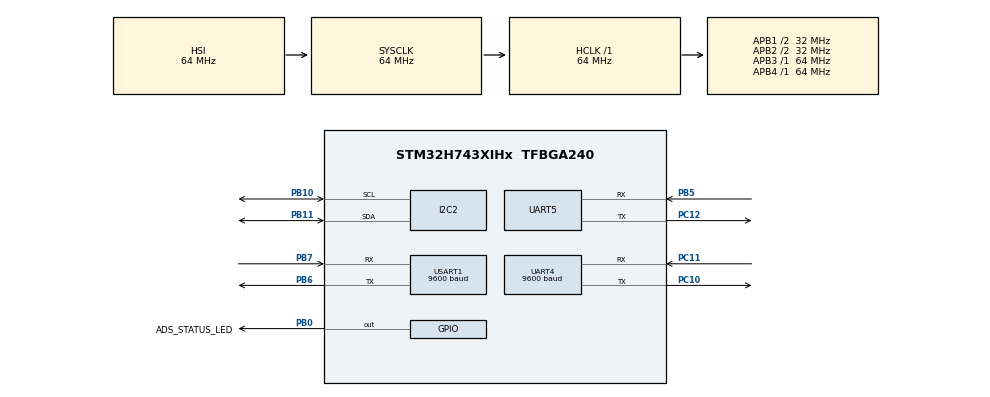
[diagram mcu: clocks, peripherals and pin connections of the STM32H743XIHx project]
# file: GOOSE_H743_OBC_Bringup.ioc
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CORTEX_M7.default_mode_Activation=1
I2C2.Timing=0x00707CBB
Mcu.Family=STM32H7
Mcu.Name=STM32H743XIHx
Mcu.Package=TFBGA240
NVIC.PriorityGroup=NVIC_PRIORITYGROUP_4
NVIC.UART4_IRQn=true\:0\:0\:false\:false\:true\:true\:true\:true
NVIC.USART1_IRQn=true\:0\:0\:false\:false\:true\:true\:true\:true
PB0.GPIO_Label=ADS_STATUS_LED
PB0.Signal=GPIO_Output
PB10.Mode=I2C
PB10.Signal=I2C2_SCL
PB11.Mode=I2C
PB11.Signal=I2C2_SDA
PB5.Mode=Asynchronous
PB5.Signal=UART5_RX
PB6.Mode=Asynchronous
PB6.Signal=USART1_TX
PB7.Mode=Asynchronous
PB7.Signal=USART1_RX
PC10.Mode=Asynchronous
PC10.Signal=UART4_TX
PC11.Mode=Asynchronous
PC11.Signal=UART4_RX
PC12.Mode=Asynchronous
PC12.Signal=UART5_TX
PD3.Signal=USART2_CTS
ProjectManager.HeapSize=0x200
ProjectManager.StackSize=0x400
ProjectManager.TargetToolchain=CMake
RCC.ADCFreq_Value=129000000
RCC.APB1Freq_Value=32000000
RCC.APB2Freq_Value=32000000
RCC.APB3Freq_Value=64000000
RCC.APB4Freq_Value=64000000
RCC.CortexFreq_Value=64000000
RCC.D2PPRE1=RCC_APB1_DIV2
RCC.D2PPRE2=RCC_APB2_DIV2
RCC.HCLKFreq_Value=64000000
RCC.SYSCLKFreq_VALUE=64000000
RCC.USBFreq_Value=129000000
UART4.BaudRate=9600
USART1.BaudRate=9600
USART1.VirtualMode-Asynchronous=VM_ASYNC
VP_MEMORYMAP_VS_MEMORYMAP.Mode=CurAppReg
board=custom

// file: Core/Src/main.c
/* USER CODE BEGIN Header */
/**
  ******************************************************************************
  * @file           : main.c
  * @brief          : Main program body
  ******************************************************************************
  * @attention
  *
  * Copyright (c) 2026 STMicroelectronics.
  * All rights reserved.
  *
  * This software is licensed under terms that can be found in the LICENSE file
  * in the root directory of this software component.
  * If no LICENSE file comes with this software, it is provided AS-IS.
  *
  ******************************************************************************
  */
/* USER CODE END Header */
#include "main.h"

/* USER CODE BEGIN Includes */
#include "ads_app.h"
#include <stdint.h>
#include "ads_status.h"
#include "ads_icm20948_probe.h"
#include "stm32h7xx_hal.h"
#include <stdio.h>
#include <math.h>
#include "ads_h743_sensors.h"
#include "string.h"
/* USER CODE END Includes */

/* USER CODE BEGIN PTD */

typedef struct
{
  uint32_t init_ok;
  uint32_t update_count;
  uint32_t last_update_ms;
  uint32_t icm_addr;
  uint32_t last_error_stage;
  uint32_t last_hal_status;
  uint32_t mag_bypass_ok;
  uint32_t mag_whoami_ok;
  uint32_t mag_config_ok;
  uint32_t mag_raw_ok;
  uint32_t mag_wia2;
  uint32_t mag_st1;
  uint32_t mag_st2;

  int32_t accel_x_raw;
  int32_t accel_y_raw;
  int32_t accel_z_raw;
  int32_t gyro_x_raw;
  int32_t gyro_y_raw;
  int32_t gyro_z_raw;
  int32_t mag_x_raw;
  int32_t mag_y_raw;
  int32_t mag_z_raw;
  int32_t temp_raw;
  int32_t mag_temp_raw;

  float accel_x_mps2;
  float accel_y_mps2;
  float accel_z_mps2;
  float gyro_x_radps;
  float gyro_y_radps;
  float gyro_z_radps;
  float mag_x_uT;
  float mag_y_uT;
  float mag_z_uT;
  float temp_c;
} GOOSE_ImuLiveDebug;

/* USER CODE END PTD */

/* USER CODE BEGIN PD */
#define ICM20948_ACCEL_4G_LSB_PER_G        (8192.0f)
#define ICM20948_STANDARD_GRAVITY_MPS2     (9.80665f)

#define ICM20948_GYRO_500DPS_LSB_PER_DPS   (65.5f)
#define DEG_TO_RAD                         (0.01745329251994329577f)

#define ICM20948_REG_BANK_SEL             0x7Fu
#define ICM20948_BANK0                    0x00u
#define ICM20948_USER_CTRL                0x03u
#define ICM20948_INT_PIN_CFG              0x0Fu

#define ICM20948_I2C_BYPASS_EN            0x02u

#define AK09916_I2C_ADDR_7BIT             0x0Cu
#define AK09916_I2C_ADDR_HAL              (AK09916_I2C_ADDR_7BIT << 1)

#define AK09916_REG_WIA2                  0x01u
#define AK09916_REG_ST1                   0x10u
#define AK09916_REG_HXL                   0x11u
#define AK09916_REG_ST2                   0x18u
#define AK09916_REG_CNTL2                 0x31u
#define AK09916_REG_CNTL3                 0x32u

#define AK09916_WIA2_EXPECTED             0x09u

#define AK09916_CNTL2_POWER_DOWN          0x00u
#define AK09916_CNTL2_CONTINUOUS_10HZ     0x02u
#define AK09916_CNTL2_CONTINUOUS_20HZ     0x04u
#define AK09916_CNTL2_CONTINUOUS_50HZ     0x06u
#define AK09916_CNTL2_CONTINUOUS_100HZ    0x08u

#define AK09916_ST1_DRDY                  0x01u
#define AK09916_ST2_HOFL                  0x08u

#define GOOSE_I2C_DEBUG_ONLY              1u
#define GOOSE_I2C_DEBUG_PERIOD_MS         50u

#define ICM20948_ADDR_PRIMARY             0x69u
#define ICM20948_ADDR_SECONDARY           0x68u
#define ICM20948_WHOAMI_EXPECTED          0xEAu

#define ICM20948_REG_WHO_AM_I             0x00u
#define ICM20948_PWR_MGMT_1               0x06u
#define ICM20948_PWR_MGMT_2               0x07u
#define ICM20948_ACCEL_XOUT_H             0x2Du
#define ICM20948_BANK2                    0x20u
#define ICM20948_GYRO_CONFIG_1            0x01u
#define ICM20948_ACCEL_CONFIG             0x14u

#define ICM20948_ACCEL_CONFIG_4G          0x02u
#define ICM20948_GYRO_CONFIG_500DPS       0x02u

#define ICM20948_TEMP_SENS_LSB_PER_C      333.87f
#define ICM20948_TEMP_OFFSET_C            21.0f

#define AK09916_UT_PER_LSB                0.15f

/* USER CODE END PD */

I2C_HandleTypeDef hi2c2;

UART_HandleTypeDef huart4;
UART_HandleTypeDef huart5;
UART_HandleTypeDef huart1;

/* USER CODE BEGIN PV */

volatile uint32_t g_uart4_test_status_debug = 999u;

static uint32_t g_ads_last_run_ms = 0u;
static uint32_t g_ads_status_last_toggle_ms = 0u;

static uint32_t g_imu_csv_start_ms = 0u;
static uint32_t g_imu_csv_last_ms = 0u;
static uint32_t g_imu_csv_sample = 0u;

#if 0
static uint32_t g_gyro50_start_ms = 0u;
static uint32_t g_gyro50_last_ms = 0u;
static uint32_t g_gyro50_sample = 0u;
static uint32_t g_uart_telemetry_last_ms = 0u;

static uint32_t g_uart_telemetry_sample_count = 0u;
static uint32_t g_uart_telemetry_last_sample_ms = 0u;
#endif

/*
 * Prepared for later 50 Hz gyro telemetry.
 * Leave disabled for now while we finish clean accel/gyro telemetry.
 */
#define ADS_UART_TELEMETRY_50HZ_ENABLE 0

/* Debug-visible counters */
volatile uint32_t g_ads_run_count = 0u;
volatile uint32_t g_ads_init_done = 0u;
volatile uint32_t g_ads_healthy_debug = 0u;

volatile uint32_t g_icm20948_probe_result_debug = 0u;
volatile uint32_t g_icm20948_detected_addr_debug = 0u;
volatile uint32_t g_icm20948_probe_count_debug = 0u;
volatile uint32_t g_icm20948_hal_status_0x69_debug = 0u;
volatile uint32_t g_icm20948_hal_status_0x68_debug = 0u;

volatile uint32_t g_icm20948_whoami_result_debug = 0u;
volatile uint32_t g_icm20948_whoami_value_debug = 0u;
volatile uint32_t g_icm20948_whoami_hal_status_debug = 0u;
volatile uint32_t g_icm20948_whoami_read_count_debug = 0u;

static uint8_t g_icm20948_probe_done = 0u;
static uint8_t g_icm20948_probe_found = 0u;
static uint8_t g_icm20948_whoami_ok = 0u;

volatile uint32_t g_icm20948_wake_result_debug = 0u;
volatile uint32_t g_icm20948_wake_hal_status_debug = 0u;
volatile uint32_t g_icm20948_wake_count_debug = 0u;

volatile int32_t g_icm20948_accel_x_raw_debug = 0;
volatile int32_t g_icm20948_accel_y_raw_debug = 0;
volatile int32_t g_icm20948_accel_z_raw_debug = 0;

volatile int32_t g_icm20948_gyro_x_raw_debug = 0;
volatile int32_t g_icm20948_gyro_y_raw_debug = 0;
volatile int32_t g_icm20948_gyro_z_raw_debug = 0;

volatile uint32_t g_icm20948_raw_result_debug = 0u;
volatile uint32_t g_icm20948_raw_hal_status_debug = 0u;
volatile uint32_t g_icm20948_raw_read_count_debug = 0u;

static uint8_t g_icm20948_raw_ok = 0u;
static uint32_t g_icm20948_last_raw_read_ms = 0u;

volatile uint32_t g_icm20948_config_result_debug = 0u;
volatile uint32_t g_icm20948_config_hal_status_debug = 0u;
volatile uint32_t g_icm20948_config_count_debug = 0u;

static uint8_t g_icm20948_config_ok = 0u;

volatile float g_icm20948_accel_x_mps2_debug = 0.0f;
volatile float g_icm20948_accel_y_mps2_debug = 0.0f;
volatile float g_icm20948_accel_z_mps2_debug = 0.0f;

volatile float g_icm20948_gyro_x_radps_debug = 0.0f;
volatile float g_icm20948_gyro_y_radps_debug = 0.0f;
volatile float g_icm20948_gyro_z_radps_debug = 0.0f;

static uint8_t g_ak09916_bypass_ok = 0u;
static uint8_t g_ak09916_whoami_ok = 0u;
static uint8_t g_ak09916_config_ok = 0u;
static uint8_t g_ak09916_raw_ok = 0u;

static uint32_t g_ak09916_last_read_ms = 0u;
static uint32_t g_mag_csv_start_ms = 0u;
static uint32_t g_mag_csv_last_ms = 0u;
static uint32_t g_mag_csv_sample = 0u;

static uint32_t g_est_csv_start_ms = 0u;
static uint32_t g_est_csv_last_ms = 0u;
static uint32_t g_est_csv_sample = 0u;

static uint32_t g_ak09916_hal_status_debug = 0u;
static uint32_t g_ak09916_wia2_debug = 0u;
static uint32_t g_ak09916_st1_debug = 0u;
static uint32_t g_ak09916_st2_debug = 0u;

static int32_t g_ak09916_mag_x_raw_debug = 0;
static int32_t g_ak09916_mag_y_raw_debug = 0;
static int32_t g_ak09916_mag_z_raw_debug = 0;

volatile GOOSE_ImuLiveDebug g_imu_live_debug = {0};

volatile int32_t g_icm20948_temp_raw_debug = 0;
volatile float g_icm20948_temp_c_debug = 0.0f;

volatile float g_ak09916_mag_x_uT_debug = 0.0f;
volatile float g_ak09916_mag_y_uT_debug = 0.0f;
volatile float g_ak09916_mag_z_uT_debug = 0.0f;
volatile int32_t g_ak09916_mag_temp_raw_debug = 0;

static uint32_t g_imu_live_last_read_ms = 0u;

/* USER CODE END PV */

void SystemClock_Config(void);
static void MPU_Config(void);
static void MX_GPIO_Init(void);
static void MX_I2C2_Init(void);
static void MX_UART4_Init(void);
static void MX_USART1_UART_Init(void);
static void MX_UART5_Init(void);

/* USER CODE BEGIN 0 */
static HAL_StatusTypeDef GOOSE_ICM20948_WriteReg(uint8_t icm_addr_7bit,
                                                 uint8_t reg,
                                                 uint8_t value)
{
  return HAL_I2C_Mem_Write(&hi2c2,
                           (uint16_t)(icm_addr_7bit << 1),
                           reg,
                           I2C_MEMADD_SIZE_8BIT,
                           &value,
                           1u,
                           100u);
}

static HAL_StatusTypeDef GOOSE_AK09916_WriteReg(uint8_t reg, uint8_t value)
{
  return HAL_I2C_Mem_Write(&hi2c2,
                           AK09916_I2C_ADDR_HAL,
                           reg,
                           I2C_MEMADD_SIZE_8BIT,
                           &value,
                           1u,
                           100u);
}

static HAL_StatusTypeDef GOOSE_AK09916_ReadReg(uint8_t reg, uint8_t *value)
{
  return HAL_I2C_Mem_Read(&hi2c2,
                          AK09916_I2C_ADDR_HAL,
                          reg,
                          I2C_MEMADD_SIZE_8BIT,
                          value,
                          1u,
                          100u);
}

static HAL_StatusTypeDef GOOSE_AK09916_ReadRegs(uint8_t reg,
                                                uint8_t *data,
                                                uint16_t len)
{
  return HAL_I2C_Mem_Read(&hi2c2,
                          AK09916_I2C_ADDR_HAL,
                          reg,
                          I2C_MEMADD_SIZE_8BIT,
                          data,
                          len,
                          100u);
}

static HAL_StatusTypeDef GOOSE_ICM20948_ReadReg(uint8_t icm_addr_7bit,
                                                uint8_t reg,
                                                uint8_t *value)
{
  return HAL_I2C_Mem_Read(&hi2c2,
                          (uint16_t)(icm_addr_7bit << 1),
                          reg,
                          I2C_MEMADD_SIZE_8BIT,
                          value,
                          1u,
                          100u);
}

static HAL_StatusTypeDef GOOSE_ICM20948_ReadRegs(uint8_t icm_addr_7bit,
                                                 uint8_t reg,
                                                 uint8_t *data,
                                                 uint16_t len)
{
  return HAL_I2C_Mem_Read(&hi2c2,
                          (uint16_t)(icm_addr_7bit << 1),
                          reg,
                          I2C_MEMADD_SIZE_8BIT,
                          data,
                          len,
                          100u);
}

static HAL_StatusTypeDef GOOSE_ICM20948_SelectBank(uint8_t icm_addr_7bit,
                                                   uint8_t bank)
{
  return GOOSE_ICM20948_WriteReg(icm_addr_7bit,
                                 ICM20948_REG_BANK_SEL,
                                 bank);
}

static int16_t GOOSE_ReadI16BE(const uint8_t *p)
{
  return (int16_t)(((uint16_t)p[0] << 8) | (uint16_t)p[1]);
}

static void GOOSE_AK09916_InitForTelemetry(void)
{
  HAL_StatusTypeDef status;
  uint8_t wia2 = 0u;

  g_ak09916_bypass_ok = 0u;
  g_ak09916_whoami_ok = 0u;
  g_ak09916_config_ok = 0u;
  g_ak09916_raw_ok = 0u;

  /*
   * Put ICM-20948 in bank 0.
   */
  status = GOOSE_ICM20948_WriteReg((uint8_t)g_icm20948_detected_addr_debug,
                                   ICM20948_REG_BANK_SEL,
                                   ICM20948_BANK0);
  g_ak09916_hal_status_debug = (uint32_t)status;

  if (status != HAL_OK)
  {
    return;
  }

  /*
   * Disable ICM internal I2C master, then enable bypass so STM32 can see AK09916.
   */
  status = GOOSE_ICM20948_WriteReg((uint8_t)g_icm20948_detected_addr_debug,
                                   ICM20948_USER_CTRL,
                                   0x00u);
  g_ak09916_hal_status_debug = (uint32_t)status;

  if (status != HAL_OK)
  {
    return;
  }

  status = GOOSE_ICM20948_WriteReg((uint8_t)g_icm20948_detected_addr_debug,
                                   ICM20948_INT_PIN_CFG,
                                   ICM20948_I2C_BYPASS_EN);
  g_ak09916_hal_status_debug = (uint32_t)status;

  if (status != HAL_OK)
  {
    return;
  }

  HAL_Delay(10u);
  g_ak09916_bypass_ok = 1u;

  /*
   * Check AK09916 identity.
   */
  status = GOOSE_AK09916_ReadReg(AK09916_REG_WIA2, &wia2);
  g_ak09916_hal_status_debug = (uint32_t)status;
  g_ak09916_wia2_debug = (uint32_t)wia2;

  if ((status != HAL_OK) || (wia2 != AK09916_WIA2_EXPECTED))
  {
    return;
  }

  g_ak09916_whoami_ok = 1u;

  /*
   * Reset/configure magnetometer.
   */
  status = GOOSE_AK09916_WriteReg(AK09916_REG_CNTL3, 0x01u);
  g_ak09916_hal_status_debug = (uint32_t)status;

  if (status != HAL_OK)
  {
    return;
  }

  HAL_Delay(50u);

  status = GOOSE_AK09916_WriteReg(AK09916_REG_CNTL2,
                                  AK09916_CNTL2_CONTINUOUS_100HZ);
  g_ak09916_hal_status_debug = (uint32_t)status;

  if (status != HAL_OK)
  {
    return;
  }

  HAL_Delay(10u);

  g_ak09916_config_ok = 1u;
}

static void GOOSE_AK09916_ReadMagOnce(void)
{
  HAL_StatusTypeDef status;
  uint8_t st1 = 0u;
  uint8_t data[8] = {0};

  g_ak09916_raw_ok = 0u;

  status = GOOSE_AK09916_ReadReg(AK09916_REG_ST1, &st1);
  g_ak09916_hal_status_debug = (uint32_t)status;
  g_ak09916_st1_debug = (uint32_t)st1;

  if (status != HAL_OK)
  {
    return;
  }

  if ((st1 & AK09916_ST1_DRDY) == 0u)
  {
    return;
  }

  /*
   * Read HXL,HXH,HYL,HYH,HZL,HZH,TMPS,ST2.
   * Reading ST2 is required to complete the measurement read.
   */
  status = GOOSE_AK09916_ReadRegs(AK09916_REG_HXL, data, 8u);
  g_ak09916_hal_status_debug = (uint32_t)status;

  if (status != HAL_OK)
  {
    return;
  }

  g_ak09916_st2_debug = (uint32_t)data[7];

  if ((data[7] & AK09916_ST2_HOFL) != 0u)
  {
    return;
  }

  g_ak09916_mag_x_raw_debug =
      (int32_t)((int16_t)((uint16_t)data[0] | ((uint16_t)data[1] << 8)));

  g_ak09916_mag_y_raw_debug =
      (int32_t)((int16_t)((uint16_t)data[2] | ((uint16_t)data[3] << 8)));

  g_ak09916_mag_z_raw_debug =
      (int32_t)((int16_t)((uint16_t)data[4] | ((uint16_t)data[5] << 8)));

  g_ak09916_mag_temp_raw_debug = (int32_t)((int8_t)data[6]);

  g_ak09916_mag_x_uT_debug = (float)g_ak09916_mag_x_raw_debug * AK09916_UT_PER_LSB;
  g_ak09916_mag_y_uT_debug = (float)g_ak09916_mag_y_raw_debug * AK09916_UT_PER_LSB;
  g_ak09916_mag_z_uT_debug = (float)g_ak09916_mag_z_raw_debug * AK09916_UT_PER_LSB;

  g_imu_live_debug.mag_x_raw = g_ak09916_mag_x_raw_debug;
  g_imu_live_debug.mag_y_raw = g_ak09916_mag_y_raw_debug;
  g_imu_live_debug.mag_z_raw = g_ak09916_mag_z_raw_debug;
  g_imu_live_debug.mag_temp_raw = g_ak09916_mag_temp_raw_debug;
  g_imu_live_debug.mag_x_uT = g_ak09916_mag_x_uT_debug;
  g_imu_live_debug.mag_y_uT = g_ak09916_mag_y_uT_debug;
  g_imu_live_debug.mag_z_uT = g_ak09916_mag_z_uT_debug;
  g_imu_live_debug.mag_raw_ok = 1u;
  g_imu_live_debug.mag_wia2 = g_ak09916_wia2_debug;
  g_imu_live_debug.mag_st1 = g_ak09916_st1_debug;
  g_imu_live_debug.mag_st2 = g_ak09916_st2_debug;

  g_ak09916_raw_ok = 1u;
}

static void GOOSE_DebugImuI2cOnlyInit(void)
{
  HAL_StatusTypeDef status;
  uint8_t addr = 0u;
  uint8_t whoami = 0u;

  g_imu_live_debug.init_ok = 0u;
  g_imu_live_debug.last_error_stage = 1u;

  g_icm20948_probe_count_debug++;
  g_icm20948_probe_done = 1u;
  g_icm20948_probe_found = 0u;
  g_icm20948_whoami_ok = 0u;
  g_icm20948_config_ok = 0u;
  g_icm20948_raw_ok = 0u;

  status = HAL_I2C_IsDeviceReady(&hi2c2,
                                 (uint16_t)(ICM20948_ADDR_PRIMARY << 1),
                                 2u,
                                 100u);
  g_icm20948_hal_status_0x69_debug = (uint32_t)status;

  if (status == HAL_OK)
  {
    addr = ICM20948_ADDR_PRIMARY;
  }
  else
  {
    status = HAL_I2C_IsDeviceReady(&hi2c2,
                                   (uint16_t)(ICM20948_ADDR_SECONDARY << 1),
                                   2u,
                                   100u);
    g_icm20948_hal_status_0x68_debug = (uint32_t)status;

    if (status == HAL_OK)
    {
      addr = ICM20948_ADDR_SECONDARY;
    }
  }

  g_icm20948_probe_result_debug = (uint32_t)status;
  g_imu_live_debug.last_hal_status = (uint32_t)status;

  if (addr == 0u)
  {
    g_imu_live_debug.last_error_stage = 2u;
    return;
  }

  g_icm20948_detected_addr_debug = (uint32_t)addr;
  g_imu_live_debug.icm_addr = (uint32_t)addr;
  g_icm20948_probe_found = 1u;

  status = GOOSE_ICM20948_SelectBank(addr, ICM20948_BANK0);
  g_imu_live_debug.last_hal_status = (uint32_t)status;
  if (status != HAL_OK)
  {
    g_imu_live_debug.last_error_stage = 3u;
    return;
  }

  status = GOOSE_ICM20948_ReadReg(addr, ICM20948_REG_WHO_AM_I, &whoami);
  g_icm20948_whoami_hal_status_debug = (uint32_t)status;
  g_icm20948_whoami_value_debug = (uint32_t)whoami;
  g_icm20948_whoami_read_count_debug++;
  g_imu_live_debug.last_hal_status = (uint32_t)status;

  if ((status != HAL_OK) || (whoami != ICM20948_WHOAMI_EXPECTED))
  {
    g_imu_live_debug.last_error_stage = 4u;
    return;
  }

  g_icm20948_whoami_ok = 1u;

  status = GOOSE_ICM20948_WriteReg(addr, ICM20948_PWR_MGMT_1, 0x01u);
  g_icm20948_wake_hal_status_debug = (uint32_t)status;
  g_icm20948_wake_result_debug = (uint32_t)status;
  g_icm20948_wake_count_debug++;
  g_imu_live_debug.last_hal_status = (uint32_t)status;
  if (status != HAL_OK)
  {
    g_imu_live_debug.last_error_stage = 5u;
    return;
  }

  HAL_Delay(20u);

  status = GOOSE_ICM20948_WriteReg(addr, ICM20948_PWR_MGMT_2, 0x00u);
  g_imu_live_debug.last_hal_status = (uint32_t)status;
  if (status != HAL_OK)
  {
    g_imu_live_debug.last_error_stage = 6u;
    return;
  }

  status = GOOSE_ICM20948_SelectBank(addr, ICM20948_BANK2);
  g_imu_live_debug.last_hal_status = (uint32_t)status;
  if (status != HAL_OK)
  {
    g_imu_live_debug.last_error_stage = 7u;
    return;
  }

  status = GOOSE_ICM20948_WriteReg(addr,
                                   ICM20948_GYRO_CONFIG_1,
                                   ICM20948_GYRO_CONFIG_500DPS);
  g_icm20948_config_hal_status_debug = (uint32_t)status;
  g_imu_live_debug.last_hal_status = (uint32_t)status;
  if (status != HAL_OK)
  {
    g_imu_live_debug.last_error_stage = 8u;
    return;
  }

  status = GOOSE_ICM20948_WriteReg(addr,
                                   ICM20948_ACCEL_CONFIG,
                                   ICM20948_ACCEL_CONFIG_4G);
  g_icm20948_config_hal_status_debug = (uint32_t)status;
  g_imu_live_debug.last_hal_status = (uint32_t)status;
  if (status != HAL_OK)
  {
    g_imu_live_debug.last_error_stage = 9u;
    return;
  }

  status = GOOSE_ICM20948_SelectBank(addr, ICM20948_BANK0);
  g_icm20948_config_hal_status_debug = (uint32_t)status;
  g_icm20948_config_result_debug = (uint32_t)status;
  g_icm20948_config_count_debug++;
  g_imu_live_debug.last_hal_status = (uint32_t)status;
  if (status != HAL_OK)
  {
    g_imu_live_debug.last_error_stage = 10u;
    return;
  }

  g_icm20948_config_ok = 1u;
  g_imu_live_debug.init_ok = 1u;
  g_imu_live_debug.last_error_stage = 0u;

  /* Mag setup is allowed to fail without killing accel/gyro/temp debug. */
  GOOSE_AK09916_InitForTelemetry();
  g_imu_live_debug.mag_bypass_ok = (uint32_t)g_ak09916_bypass_ok;
  g_imu_live_debug.mag_whoami_ok = (uint32_t)g_ak09916_whoami_ok;
  g_imu_live_debug.mag_config_ok = (uint32_t)g_ak09916_config_ok;
  g_imu_live_debug.mag_raw_ok = (uint32_t)g_ak09916_raw_ok;
  g_imu_live_debug.mag_wia2 = g_ak09916_wia2_debug;
  g_imu_live_debug.mag_st1 = g_ak09916_st1_debug;
  g_imu_live_debug.mag_st2 = g_ak09916_st2_debug;
}

static void GOOSE_DebugImuI2cOnlyPoll(void)
{
  HAL_StatusTypeDef status;
  uint8_t data[14] = {0};
  int16_t ax;
  int16_t ay;
  int16_t az;
  int16_t gx;
  int16_t gy;
  int16_t gz;
  int16_t temp_raw;
  uint8_t addr = (uint8_t)g_icm20948_detected_addr_debug;

  if ((g_icm20948_whoami_ok == 0u) ||
      (g_icm20948_config_ok == 0u) ||
      (addr == 0u))
  {
    return;
  }

  status = GOOSE_ICM20948_SelectBank(addr, ICM20948_BANK0);
  g_imu_live_debug.last_hal_status = (uint32_t)status;
  if (status != HAL_OK)
  {
    g_imu_live_debug.last_error_stage = 11u;
    return;
  }

  status = GOOSE_ICM20948_ReadRegs(addr, ICM20948_ACCEL_XOUT_H, data, 14u);
  g_icm20948_raw_result_debug = (uint32_t)status;
  g_icm20948_raw_hal_status_debug = (uint32_t)status;
  g_icm20948_raw_read_count_debug++;
  g_imu_live_debug.last_hal_status = (uint32_t)status;

  if (status != HAL_OK)
  {
    g_icm20948_raw_ok = 0u;
    g_imu_live_debug.last_error_stage = 12u;
    return;
  }

  ax = GOOSE_ReadI16BE(&data[0]);
  ay = GOOSE_ReadI16BE(&data[2]);
  az = GOOSE_ReadI16BE(&data[4]);
  gx = GOOSE_ReadI16BE(&data[6]);
  gy = GOOSE_ReadI16BE(&data[8]);
  gz = GOOSE_ReadI16BE(&data[10]);
  temp_raw = GOOSE_ReadI16BE(&data[12]);

  g_icm20948_accel_x_raw_debug = (int32_t)ax;
  g_icm20948_accel_y_raw_debug = (int32_t)ay;
  g_icm20948_accel_z_raw_debug = (int32_t)az;
  g_icm20948_gyro_x_raw_debug = (int32_t)gx;
  g_icm20948_gyro_y_raw_debug = (int32_t)gy;
  g_icm20948_gyro_z_raw_debug = (int32_t)gz;
  g_icm20948_temp_raw_debug = (int32_t)temp_raw;

  g_icm20948_accel_x_mps2_debug = ((float)ax / ICM20948_ACCEL_4G_LSB_PER_G) * ICM20948_STANDARD_GRAVITY_MPS2;
  g_icm20948_accel_y_mps2_debug = ((float)ay / ICM20948_ACCEL_4G_LSB_PER_G) * ICM20948_STANDARD_GRAVITY_MPS2;
  g_icm20948_accel_z_mps2_debug = ((float)az / ICM20948_ACCEL_4G_LSB_PER_G) * ICM20948_STANDARD_GRAVITY_MPS2;
  g_icm20948_gyro_x_radps_debug = ((float)gx / ICM20948_GYRO_500DPS_LSB_PER_DPS) * DEG_TO_RAD;
  g_icm20948_gyro_y_radps_debug = ((float)gy / ICM20948_GYRO_500DPS_LSB_PER_DPS) * DEG_TO_RAD;
  g_icm20948_gyro_z_radps_debug = ((float)gz / ICM20948_GYRO_500DPS_LSB_PER_DPS) * DEG_TO_RAD;
  g_icm20948_temp_c_debug = ((float)temp_raw / ICM20948_TEMP_SENS_LSB_PER_C) + ICM20948_TEMP_OFFSET_C;

  g_imu_live_debug.accel_x_raw = g_icm20948_accel_x_raw_debug;
  g_imu_live_debug.accel_y_raw = g_icm20948_accel_y_raw_debug;
  g_imu_live_debug.accel_z_raw = g_icm20948_accel_z_raw_debug;
  g_imu_live_debug.gyro_x_raw = g_icm20948_gyro_x_raw_debug;
  g_imu_live_debug.gyro_y_raw = g_icm20948_gyro_y_raw_debug;
  g_imu_live_debug.gyro_z_raw = g_icm20948_gyro_z_raw_debug;
  g_imu_live_debug.temp_raw = g_icm20948_temp_raw_debug;

  g_imu_live_debug.accel_x_mps2 = g_icm20948_accel_x_mps2_debug;
  g_imu_live_debug.accel_y_mps2 = g_icm20948_accel_y_mps2_debug;
  g_imu_live_debug.accel_z_mps2 = g_icm20948_accel_z_mps2_debug;
  g_imu_live_debug.gyro_x_radps = g_icm20948_gyro_x_radps_debug;
  g_imu_live_debug.gyro_y_radps = g_icm20948_gyro_y_radps_debug;
  g_imu_live_debug.gyro_z_radps = g_icm20948_gyro_z_radps_debug;
  g_imu_live_debug.temp_c = g_icm20948_temp_c_debug;

  g_icm20948_raw_ok = 1u;

  if (g_ak09916_config_ok != 0u)
  {
    GOOSE_AK09916_ReadMagOnce();
  }

  g_imu_live_debug.mag_bypass_ok = (uint32_t)g_ak09916_bypass_ok;
  g_imu_live_debug.mag_whoami_ok = (uint32_t)g_ak09916_whoami_ok;
  g_imu_live_debug.mag_config_ok = (uint32_t)g_ak09916_config_ok;
  g_imu_live_debug.mag_raw_ok = (uint32_t)g_ak09916_raw_ok;
  g_imu_live_debug.mag_wia2 = g_ak09916_wia2_debug;
  g_imu_live_debug.mag_st1 = g_ak09916_st1_debug;
  g_imu_live_debug.mag_st2 = g_ak09916_st2_debug;

  g_imu_live_debug.update_count++;
  g_imu_live_debug.last_update_ms = HAL_GetTick();
  g_imu_live_debug.last_error_stage = 0u;
}

static int32_t GOOSE_FloatToScaledInt32(float value, float scale)
{
  if (!isfinite(value))
  {
    return 0;
  }

  return (int32_t)(value * scale);
}

/* USER CODE END 0 */

int main(void)
{

  /* MPU Configuration--------------------------------------------------------*/
  MPU_Config();

  /* MCU Configuration--------------------------------------------------------*/

  /* Reset of all peripherals, Initializes the Flash interface and the Systick. */
  HAL_Init();

  /* Configure the system clock */
  SystemClock_Config();

  /* Initialize all configured peripherals */
  MX_GPIO_Init();
  MX_I2C2_Init();
  MX_UART4_Init();
  MX_USART1_UART_Init();
  MX_UART5_Init();
  /* USER CODE BEGIN 2 */

#if !GOOSE_I2C_DEBUG_ONLY
  const char *uart_boot =
      "\r\nOBC BOOT: UART5 PC12 telemetry active @ 115200 8N1\r\n";

  HAL_UART_Transmit(&huart5,
                    (uint8_t *)uart_boot,
                    strlen(uart_boot),
                    100u);
#endif

  GOOSE_DebugImuI2cOnlyInit();

    /* USER CODE END 2 */

  /* Infinite loop */
  /* USER CODE BEGIN WHILE */
  while (1)
  {
    const uint32_t now_ms = HAL_GetTick();

    if ((uint32_t)(now_ms - g_imu_live_last_read_ms) >= GOOSE_I2C_DEBUG_PERIOD_MS)
    {
      g_imu_live_last_read_ms = now_ms;
      GOOSE_DebugImuI2cOnlyPoll();
    }

    if ((g_ak09916_config_ok != 0u) &&
        ((uint32_t)(now_ms - g_ak09916_last_read_ms) >= 100u))
    {
      g_ak09916_last_read_ms = now_ms;
      GOOSE_AK09916_ReadMagOnce();
    }

    if ((uint32_t)(now_ms - g_ads_last_run_ms) >= 10u)
    {
      g_ads_last_run_ms = now_ms;
      ADS_App_Run();
      g_ads_run_count++;
    }

    if ((g_icm20948_whoami_ok != 0u) &&
        (g_icm20948_config_ok != 0u) &&
        ((uint32_t)(now_ms - g_icm20948_last_raw_read_ms) >= 100u))
    {
      ADS_ICM20948_RawDiagnostics raw_diag;

      g_icm20948_last_raw_read_ms = now_ms;

      raw_diag = ADS_ICM20948_ReadAccelGyroRaw(
          &hi2c2,
          (uint8_t)g_icm20948_detected_addr_debug
      );

      g_icm20948_raw_result_debug = (uint32_t)raw_diag.result;
      g_icm20948_raw_hal_status_debug = (uint32_t)raw_diag.hal_status;
      g_icm20948_raw_read_count_debug = raw_diag.read_count;

      g_icm20948_accel_x_raw_debug = (int32_t)raw_diag.accel_x_raw;
      g_icm20948_accel_y_raw_debug = (int32_t)raw_diag.accel_y_raw;
      g_icm20948_accel_z_raw_debug = (int32_t)raw_diag.accel_z_raw;

      g_icm20948_gyro_x_raw_debug = (int32_t)raw_diag.gyro_x_raw;
      g_icm20948_gyro_y_raw_debug = (int32_t)raw_diag.gyro_y_raw;
      g_icm20948_gyro_z_raw_debug = (int32_t)raw_diag.gyro_z_raw;

      g_icm20948_accel_x_mps2_debug =
          ((float)raw_diag.accel_x_raw / ICM20948_ACCEL_4G_LSB_PER_G) *
          ICM20948_STANDARD_GRAVITY_MPS2;

      g_icm20948_accel_y_mps2_debug =
          ((float)raw_diag.accel_y_raw / ICM20948_ACCEL_4G_LSB_PER_G) *
          ICM20948_STANDARD_GRAVITY_MPS2;

      g_icm20948_accel_z_mps2_debug =
          ((float)raw_diag.accel_z_raw / ICM20948_ACCEL_4G_LSB_PER_G) *
          ICM20948_STANDARD_GRAVITY_MPS2;

      g_icm20948_gyro_x_radps_debug =
          ((float)raw_diag.gyro_x_raw / ICM20948_GYRO_500DPS_LSB_PER_DPS) *
          DEG_TO_RAD;

      g_icm20948_gyro_y_radps_debug =
          ((float)raw_diag.gyro_y_raw / ICM20948_GYRO_500DPS_LSB_PER_DPS) *
          DEG_TO_RAD;

      g_icm20948_gyro_z_radps_debug =
          ((float)raw_diag.gyro_z_raw / ICM20948_GYRO_500DPS_LSB_PER_DPS) *
          DEG_TO_RAD;

      if (raw_diag.result == ADS_ICM20948_RAW_OK)
      {
        g_icm20948_raw_ok = 1u;
      }
      else
      {
        g_icm20948_raw_ok = 0u;
      }
    }

        {
    #if ADS_UART_TELEMETRY_50HZ_ENABLE
          const uint32_t telemetry_period_ms = 20u;
    #else
          /*const uint32_t telemetry_period_ms = 500u;*/
    #endif

        /*
     * Continuous accel + gyro CSV telemetry.
     *
     * Format:
     *   IMU,t_ms,sample,dt_ms,ax_raw,ay_raw,az_raw,gx_raw,gy_raw,gz_raw
     *
     * Units:
     *   accel raw counts, configured at +/-4g
     *   gyro raw counts, configured at +/-500 dps
     *
     * Telemetry rate:
     *   100 ms = 10 Hz
     */

    if ((GOOSE_I2C_DEBUG_ONLY == 0u) &&
        ((uint32_t)(now_ms - g_imu_csv_last_ms) >= 100u))
    {
      char msg[160];

      uint32_t rel_ms;
      uint32_t dt_ms;

      if (g_imu_csv_start_ms == 0u)
      {
        g_imu_csv_start_ms = now_ms;
        g_imu_csv_last_ms = now_ms;
        g_imu_csv_sample = 0u;

        rel_ms = 0u;
        dt_ms = 0u;
      }
      else
      {
        rel_ms = (uint32_t)(now_ms - g_imu_csv_start_ms);
        dt_ms = (uint32_t)(now_ms - g_imu_csv_last_ms);

        g_imu_csv_last_ms = now_ms;
        g_imu_csv_sample++;
      }

      int len = snprintf(
          msg,
          sizeof(msg),
          "IMU,%lu,%lu,%lu,%ld,%ld,%ld,%ld,%ld,%ld\r\n",
          (unsigned long)rel_ms,
          (unsigned long)g_imu_csv_sample,
          (unsigned long)dt_ms,
          (long)g_icm20948_accel_x_raw_debug,
          (long)g_icm20948_accel_y_raw_debug,
          (long)g_icm20948_accel_z_raw_debug,
          (long)g_icm20948_gyro_x_raw_debug,
          (long)g_icm20948_gyro_y_raw_debug,
          (long)g_icm20948_gyro_z_raw_debug
      );

      if ((len > 0) && (len < (int)sizeof(msg)))
      {
        HAL_UART_Transmit(&huart5,
                          (uint8_t *)msg,
                          (uint16_t)len,
                          100u);
      }
    }
    }

    g_ads_healthy_debug = ADS_App_IsHealthy() ? 1u : 0u;

    {
      uint32_t led_period_ms = 500u;

      if ((g_icm20948_probe_found == 0u) ||
          (g_icm20948_whoami_ok == 0u) ||
          (g_icm20948_config_ok == 0u) ||
          (g_icm20948_raw_ok == 0u))
      {
        led_period_ms = 100u;
      }

      if ((uint32_t)(now_ms - g_ads_status_last_toggle_ms) >= led_period_ms)
      {
        g_ads_status_last_toggle_ms = now_ms;
        HAL_GPIO_TogglePin(ADS_STATUS_LED_GPIO_Port, ADS_STATUS_LED_Pin);
      }
    }

    /*
     * Estimated attitude CSV telemetry.
     *
     * Format:
     *   EST,t_ms,sample,dt_ms,valid,phi_mrad,theta_mrad,psi_mrad,
     *       phi_dot_mradps,theta_dot_mradps,psi_dot_mradps,
     *       mag_x_nT,mag_y_nT,mag_z_nT
     *
     * Notes:
     *   - Euler angles/rates are scaled integers to avoid requiring float printf.
     *   - mag_x/y/z come from ADS estimator output in microtesla, scaled to nT.
     */
    if ((GOOSE_I2C_DEBUG_ONLY == 0u) &&
        ((uint32_t)(now_ms - g_est_csv_last_ms) >= 100u))
    {
      char msg[220];
      uint32_t rel_ms;
      uint32_t dt_ms;

      if (g_est_csv_start_ms == 0u)
      {
        g_est_csv_start_ms = now_ms;
        g_est_csv_last_ms = now_ms;
        g_est_csv_sample = 0u;

        rel_ms = 0u;
        dt_ms = 0u;
      }
      else
      {
        rel_ms = (uint32_t)(now_ms - g_est_csv_start_ms);
        dt_ms = (uint32_t)(now_ms - g_est_csv_last_ms);

        g_est_csv_last_ms = now_ms;
        g_est_csv_sample++;
      }

      ADS_Output ads_output = ADS_App_GetOutput();

      int len = snprintf(
          msg,
          sizeof(msg),
          "EST,%lu,%lu,%lu,%lu,%ld,%ld,%ld,%ld,%ld,%ld,%ld,%ld,%ld\r\n",
          (unsigned long)rel_ms,
          (unsigned long)g_est_csv_sample,
          (unsigned long)dt_ms,
          (unsigned long)(ads_output.valid ? 1u : 0u),
          (long)GOOSE_FloatToScaledInt32(ads_output.euler_rad.roll_rad, 1000.0f),
          (long)GOOSE_FloatToScaledInt32(ads_output.euler_rad.pitch_rad, 1000.0f),
          (long)GOOSE_FloatToScaledInt32(ads_output.euler_rad.yaw_rad, 1000.0f),
          (long)GOOSE_FloatToScaledInt32(ads_output.euler_rates_rad_s.x, 1000.0f),
          (long)GOOSE_FloatToScaledInt32(ads_output.euler_rates_rad_s.y, 1000.0f),
          (long)GOOSE_FloatToScaledInt32(ads_output.euler_rates_rad_s.z, 1000.0f),
          (long)GOOSE_FloatToScaledInt32(ads_output.mag_body_measured_uT.x, 1000.0f),
          (long)GOOSE_FloatToScaledInt32(ads_output.mag_body_measured_uT.y, 1000.0f),
          (long)GOOSE_FloatToScaledInt32(ads_output.mag_body_measured_uT.z, 1000.0f)
      );

      if ((len > 0) && (len < (int)sizeof(msg)))
      {
        HAL_UART_Transmit(&huart5,
                          (uint8_t *)msg,
                          (uint16_t)len,
                          100u);
      }
    }

        /*
     * Magnetometer CSV telemetry.
     *
     * Format:
     *   MAG,t_ms,sample,dt_ms,bypass,who,cfg,raw_ok,wia2,st1,st2,mx_raw,my_raw,mz_raw
     */
    if ((GOOSE_I2C_DEBUG_ONLY == 0u) &&
        ((uint32_t)(now_ms - g_mag_csv_last_ms) >= 100u))
    {
      char msg[180];

      uint32_t rel_ms;
      uint32_t dt_ms;

      if (g_mag_csv_start_ms == 0u)
      {
        g_mag_csv_start_ms = now_ms;
        g_mag_csv_last_ms = now_ms;
        g_mag_csv_sample = 0u;

        rel_ms = 0u;
        dt_ms = 0u;
      }
      else
      {
        rel_ms = (uint32_t)(now_ms - g_mag_csv_start_ms);
        dt_ms = (uint32_t)(now_ms - g_mag_csv_last_ms);

        g_mag_csv_last_ms = now_ms;
        g_mag_csv_sample++;
      }

      int len = snprintf(
          msg,
          sizeof(msg),
          "MAG,%lu,%lu,%lu,%lu,%lu,%lu,%lu,%lu,%lu,%lu,%ld,%ld,%ld\r\n",
          (unsigned long)rel_ms,
          (unsigned long)g_mag_csv_sample,
          (unsigned long)dt_ms,
          (unsigned long)g_ak09916_bypass_ok,
          (unsigned long)g_ak09916_whoami_ok,
          (unsigned long)g_ak09916_config_ok,
          (unsigned long)g_ak09916_raw_ok,
          (unsigned long)g_ak09916_wia2_debug,
          (unsigned long)g_ak09916_st1_debug,
          (unsigned long)g_ak09916_st2_debug,
          (long)g_ak09916_mag_x_raw_debug,
          (long)g_ak09916_mag_y_raw_debug,
          (long)g_ak09916_mag_z_raw_debug
      );

      if ((len > 0) && (len < (int)sizeof(msg)))
      {
        HAL_UART_Transmit(&huart5,
                          (uint8_t *)msg,
                          (uint16_t)len,
                          100u);
      }
    }
    /* USER CODE END WHILE */

  }
}

void SystemClock_Config(void)
{
  RCC_OscInitTypeDef RCC_OscInitStruct = {0};
  RCC_ClkInitTypeDef RCC_ClkInitStruct = {0};

  /** Supply configuration update enable
  */
  HAL_PWREx_ConfigSupply(PWR_LDO_SUPPLY);

  /** Configure the main internal regulator output voltage
  */
  __HAL_PWR_VOLTAGESCALING_CONFIG(PWR_REGULATOR_VOLTAGE_SCALE3);

  while(!__HAL_PWR_GET_FLAG(PWR_FLAG_VOSRDY)) {}

  /** Initializes the RCC Oscillators according to the specified parameters
  * in the RCC_OscInitTypeDef structure.
  */
  RCC_OscInitStruct.OscillatorType = RCC_OSCILLATORTYPE_HSI;
  RCC_OscInitStruct.HSIState = RCC_HSI_DIV1;
  RCC_OscInitStruct.HSICalibrationValue = RCC_HSICALIBRATION_DEFAULT;
  RCC_OscInitStruct.PLL.PLLState = RCC_PLL_NONE;
  if (HAL_RCC_OscConfig(&RCC_OscInitStruct) != HAL_OK)
  {
    Error_Handler();
  }

  /** Initializes the CPU, AHB and APB buses clocks
  */
  RCC_ClkInitStruct.ClockType = RCC_CLOCKTYPE_HCLK|RCC_CLOCKTYPE_SYSCLK
                              |RCC_CLOCKTYPE_PCLK1|RCC_CLOCKTYPE_PCLK2
                              |RCC_CLOCKTYPE_D3PCLK1|RCC_CLOCKTYPE_D1PCLK1;
  RCC_ClkInitStruct.SYSCLKSource = RCC_SYSCLKSOURCE_HSI;
  RCC_ClkInitStruct.SYSCLKDivider = RCC_SYSCLK_DIV1;
  RCC_ClkInitStruct.AHBCLKDivider = RCC_HCLK_DIV1;
  RCC_ClkInitStruct.APB3CLKDivider = RCC_APB3_DIV1;
  RCC_ClkInitStruct.APB1CLKDivider = RCC_APB1_DIV2;
  RCC_ClkInitStruct.APB2CLKDivider = RCC_APB2_DIV2;
  RCC_ClkInitStruct.APB4CLKDivider = RCC_APB4_DIV1;

  if (HAL_RCC_ClockConfig(&RCC_ClkInitStruct, FLASH_LATENCY_1) != HAL_OK)
  {
    Error_Handler();
  }
}

static void MX_I2C2_Init(void)
{

  hi2c2.Instance = I2C2;
  hi2c2.Init.Timing = 0x00707CBB;
  hi2c2.Init.OwnAddress1 = 0;
  hi2c2.Init.AddressingMode = I2C_ADDRESSINGMODE_7BIT;
  hi2c2.Init.DualAddressMode = I2C_DUALADDRESS_DISABLE;
  hi2c2.Init.OwnAddress2 = 0;
  hi2c2.Init.OwnAddress2Masks = I2C_OA2_NOMASK;
  hi2c2.Init.GeneralCallMode = I2C_GENERALCALL_DISABLE;
  hi2c2.Init.NoStretchMode = I2C_NOSTRETCH_DISABLE;
  if (HAL_I2C_Init(&hi2c2) != HAL_OK)
  {
    Error_Handler();
  }

  /** Configure Analogue filter
  */
  if (HAL_I2CEx_ConfigAnalogFilter(&hi2c2, I2C_ANALOGFILTER_ENABLE) != HAL_OK)
  {
    Error_Handler();
  }

  /** Configure Digital filter
  */
  if (HAL_I2CEx_ConfigDigitalFilter(&hi2c2, 0) != HAL_OK)
  {
    Error_Handler();
  }

}

static void MX_UART4_Init(void)
{

  huart4.Instance = UART4;
  huart4.Init.BaudRate = 115200;
  huart4.Init.WordLength = UART_WORDLENGTH_8B;
  huart4.Init.StopBits = UART_STOPBITS_1;
  huart4.Init.Parity = UART_PARITY_NONE;
  huart4.Init.Mode = UART_MODE_TX_RX;
  huart4.Init.HwFlowCtl = UART_HWCONTROL_NONE;
  huart4.Init.OverSampling = UART_OVERSAMPLING_16;
  huart4.Init.OneBitSampling = UART_ONE_BIT_SAMPLE_DISABLE;
  huart4.Init.ClockPrescaler = UART_PRESCALER_DIV1;
  huart4.AdvancedInit.AdvFeatureInit = UART_ADVFEATURE_NO_INIT;
  if (HAL_UART_Init(&huart4) != HAL_OK)
  {
    Error_Handler();
  }
  if (HAL_UARTEx_SetTxFifoThreshold(&huart4, UART_TXFIFO_THRESHOLD_1_8) != HAL_OK)
  {
    Error_Handler();
  }
  if (HAL_UARTEx_SetRxFifoThreshold(&huart4, UART_RXFIFO_THRESHOLD_1_8) != HAL_OK)
  {
    Error_Handler();
  }
  if (HAL_UARTEx_DisableFifoMode(&huart4) != HAL_OK)
  {
    Error_Handler();
  }

}

static void MX_UART5_Init(void)
{

  huart5.Instance = UART5;
  huart5.Init.BaudRate = 115200;
  huart5.Init.WordLength = UART_WORDLENGTH_8B;
  huart5.Init.StopBits = UART_STOPBITS_1;
  huart5.Init.Parity = UART_PARITY_NONE;
  huart5.Init.Mode = UART_MODE_TX_RX;
  huart5.Init.HwFlowCtl = UART_HWCONTROL_NONE;
  huart5.Init.OverSampling = UART_OVERSAMPLING_16;
  huart5.Init.OneBitSampling = UART_ONE_BIT_SAMPLE_DISABLE;
  huart5.Init.ClockPrescaler = UART_PRESCALER_DIV1;
  huart5.AdvancedInit.AdvFeatureInit = UART_ADVFEATURE_NO_INIT;
  if (HAL_UART_Init(&huart5) != HAL_OK)
  {
    Error_Handler();
  }
  if (HAL_UARTEx_SetTxFifoThreshold(&huart5, UART_TXFIFO_THRESHOLD_1_8) != HAL_OK)
  {
    Error_Handler();
  }
  if (HAL_UARTEx_SetRxFifoThreshold(&huart5, UART_RXFIFO_THRESHOLD_1_8) != HAL_OK)
  {
    Error_Handler();
  }
  if (HAL_UARTEx_DisableFifoMode(&huart5) != HAL_OK)
  {
    Error_Handler();
  }

}

static void MX_USART1_UART_Init(void)
{

  huart1.Instance = USART1;
  huart1.Init.BaudRate = 115200;
  huart1.Init.WordLength = UART_WORDLENGTH_8B;
  huart1.Init.StopBits = UART_STOPBITS_1;
  huart1.Init.Parity = UART_PARITY_NONE;
  huart1.Init.Mode = UART_MODE_TX_RX;
  huart1.Init.HwFlowCtl = UART_HWCONTROL_NONE;
  huart1.Init.OverSampling = UART_OVERSAMPLING_16;
  huart1.Init.OneBitSampling = UART_ONE_BIT_SAMPLE_DISABLE;
  huart1.Init.ClockPrescaler = UART_PRESCALER_DIV1;
  huart1.AdvancedInit.AdvFeatureInit = UART_ADVFEATURE_NO_INIT;
  if (HAL_UART_Init(&huart5) != HAL_OK)
  {
    Error_Handler();
  }
  if (HAL_UARTEx_SetTxFifoThreshold(&huart5, UART_TXFIFO_THRESHOLD_1_8) != HAL_OK)
  {
    Error_Handler();
  }
  if (HAL_UARTEx_SetRxFifoThreshold(&huart5, UART_RXFIFO_THRESHOLD_1_8) != HAL_OK)
  {
    Error_Handler();
  }
  if (HAL_UARTEx_DisableFifoMode(&huart5) != HAL_OK)
  {
    Error_Handler();
  }

}

static void MX_GPIO_Init(void)
{
  GPIO_InitTypeDef GPIO_InitStruct = {0};

  /* GPIO Ports Clock Enable */
  __HAL_RCC_GPIOB_CLK_ENABLE();
  __HAL_RCC_GPIOC_CLK_ENABLE();
  __HAL_RCC_GPIOD_CLK_ENABLE();

  /*Configure GPIO pin Output Level */
  HAL_GPIO_WritePin(ADS_STATUS_LED_GPIO_Port, ADS_STATUS_LED_Pin, GPIO_PIN_RESET);

  /*Configure GPIO pin : PD3 */
  GPIO_InitStruct.Pin = GPIO_PIN_3;
  GPIO_InitStruct.Mode = GPIO_MODE_AF_PP;
  GPIO_InitStruct.Pull = GPIO_NOPULL;
  GPIO_InitStruct.Speed = GPIO_SPEED_FREQ_LOW;
  GPIO_InitStruct.Alternate = GPIO_AF7_USART2;
  HAL_GPIO_Init(GPIOD, &GPIO_InitStruct);

  /*Configure GPIO pin : ADS_STATUS_LED_Pin */
  GPIO_InitStruct.Pin = ADS_STATUS_LED_Pin;
  GPIO_InitStruct.Mode = GPIO_MODE_OUTPUT_PP;
  GPIO_InitStruct.Pull = GPIO_NOPULL;
  GPIO_InitStruct.Speed = GPIO_SPEED_FREQ_LOW;
  HAL_GPIO_Init(ADS_STATUS_LED_GPIO_Port, &GPIO_InitStruct);

}

/* USER CODE BEGIN 4 */
int __io_putchar(int ch)
{
  uint8_t c = (uint8_t)ch;
  HAL_UART_Transmit(&huart5, &c, 1u, HAL_MAX_DELAY);
  return ch;
}
/* USER CODE END 4 */

 /* MPU Configuration */

void MPU_Config(void)
{
  MPU_Region_InitTypeDef MPU_InitStruct = {0};

  /* Disables the MPU */
  HAL_MPU_Disable();

  /** Initializes and configures the Region and the memory to be protected
  */
  MPU_InitStruct.Enable = MPU_REGION_ENABLE;
  MPU_InitStruct.Number = MPU_REGION_NUMBER0;
  MPU_InitStruct.BaseAddress = 0x0;
  MPU_InitStruct.Size = MPU_REGION_SIZE_4GB;
  MPU_InitStruct.SubRegionDisable = 0x87;
  MPU_InitStruct.TypeExtField = MPU_TEX_LEVEL0;
  MPU_InitStruct.AccessPermission = MPU_REGION_NO_ACCESS;
  MPU_InitStruct.DisableExec = MPU_INSTRUCTION_ACCESS_DISABLE;
  MPU_InitStruct.IsShareable = MPU_ACCESS_SHAREABLE;
  MPU_InitStruct.IsCacheable = MPU_ACCESS_NOT_CACHEABLE;
  MPU_InitStruct.IsBufferable = MPU_ACCESS_NOT_BUFFERABLE;

  HAL_MPU_ConfigRegion(&MPU_InitStruct);
  /* Enables the MPU */
  HAL_MPU_Enable(MPU_PRIVILEGED_DEFAULT);

}

void Error_Handler(void)
{
  __disable_irq();

  while (1)
  {
    HAL_GPIO_TogglePin(ADS_STATUS_LED_GPIO_Port, ADS_STATUS_LED_Pin);
    HAL_Delay(100);
  }
}
  /* USER CODE END Error_Handler_Debug */
